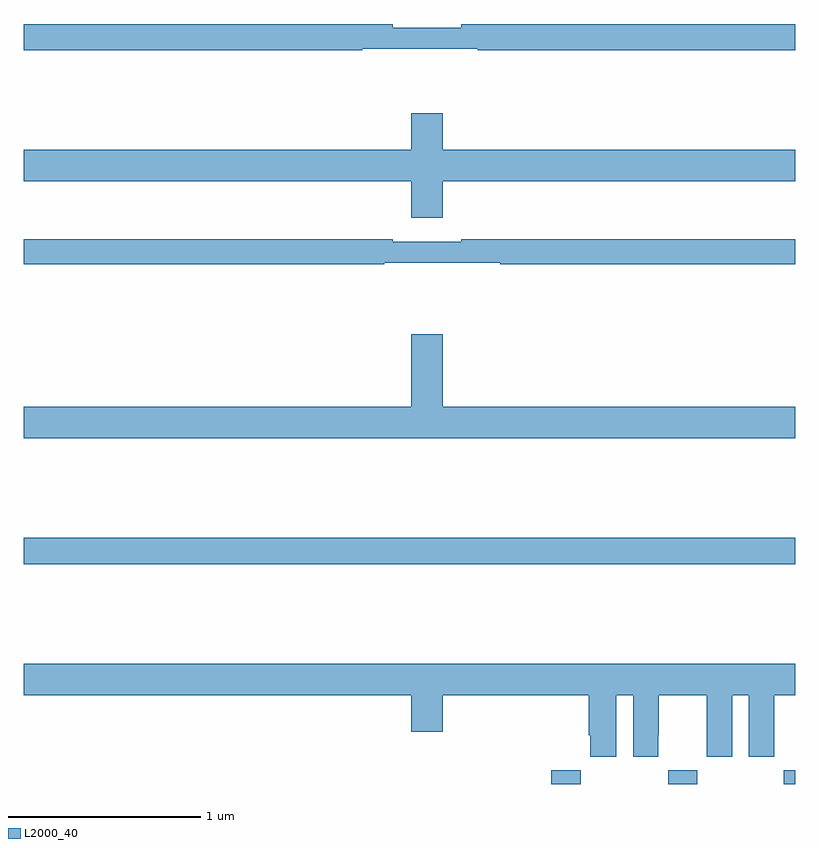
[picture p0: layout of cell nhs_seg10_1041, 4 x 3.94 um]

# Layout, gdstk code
import gdstk
lib = gdstk.Library(unit=1e-6, precision=1e-09)
def R(c, l, rs):  # rectangles x0, y0, x1, y1
    for r in rs: c.add(gdstk.rectangle(r[:2], r[2:], *l))
def P(c, l, *ps):  # polygons
    for p in ps: c.add(gdstk.Polygon(p, *l))
L2000_40 = (2000, 40)

nhs_seg10_1041 = lib.new_cell('nhs_seg10_1041')
R(nhs_seg10_1041, L2000_40, [(165.734,1322.5,165.887,1322.572), (166.341,1322.5,166.491,1322.572), (166.941,1322.5,167,1322.572), (163,1323.64,167,1323.776)])
P(nhs_seg10_1041, L2000_40, [(164.755,1326.312),(165.355,1326.312),(165.355,1326.304),(167,1326.304),(167,1326.44),(165.268,1326.44),(165.268,1326.421),(164.912,1326.421),(164.912,1326.44),(163,1326.44),(163,1326.304),(164.755,1326.304)],
  [(165.172,1325.624),(167,1325.624),(167,1325.788),(165.172,1325.788),(165.172,1325.977),(165.008,1325.977),(165.008,1325.788),(163,1325.788),(163,1325.624),(165.008,1325.624),(165.008,1325.436),(165.172,1325.436)],
  [(164.87,1325.202),(165.47,1325.202),(165.47,1325.194),(167,1325.194),(167,1325.323),(165.268,1325.323),(165.268,1325.31),(164.912,1325.31),(164.912,1325.323),(163,1325.323),(163,1325.194),(164.87,1325.194)],
  [(167,1324.456),(165.172,1324.456),(165.172,1324.831),(165.008,1324.831),(165.008,1324.456),(163,1324.456),(163,1324.292),(167,1324.292)],
  [(166.072,1322.96),(166.16,1322.96),(166.16,1322.64),(166.29,1322.64),(166.29,1322.752),(166.291,1322.752),(166.291,1322.96),(166.541,1322.96),(166.541,1322.752),(166.542,1322.752),(166.542,1322.64),(166.672,1322.64),(166.672,1322.96),(166.76,1322.96),(166.76,1322.64),(166.89,1322.64),(166.89,1322.752),(166.891,1322.752),(166.891,1322.96),(167,1322.96),(167,1323.124),(163,1323.124),(163,1322.96),(165.008,1322.96),(165.008,1322.772),(165.172,1322.772),(165.172,1322.96),(165.929,1322.96),(165.929,1322.752),(165.938,1322.752),(165.938,1322.64),(166.072,1322.64)])

lib.write_gds('nhs_seg10_1041.gds')
